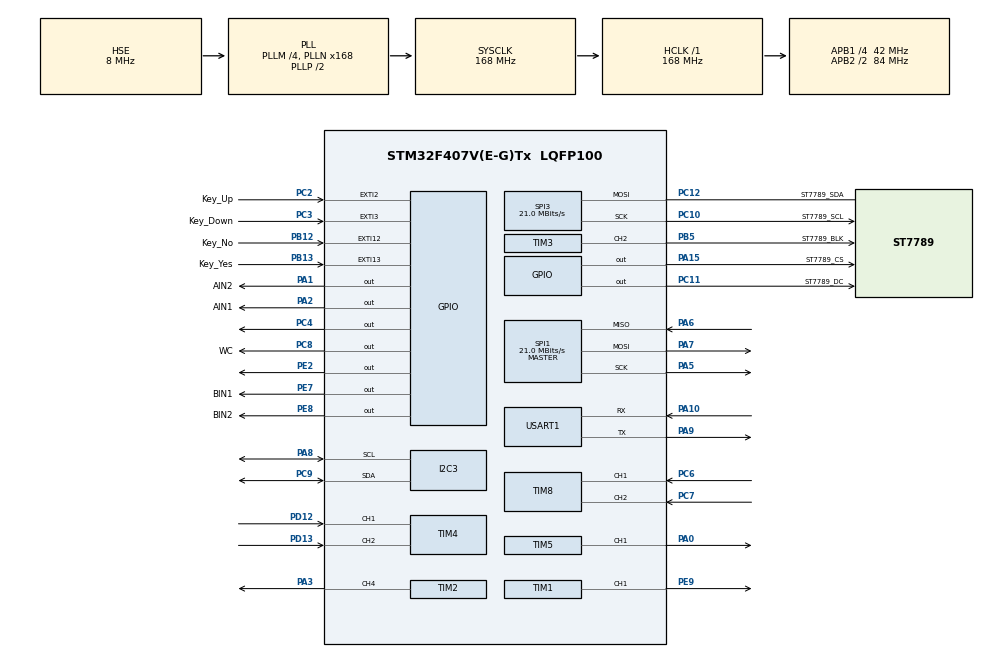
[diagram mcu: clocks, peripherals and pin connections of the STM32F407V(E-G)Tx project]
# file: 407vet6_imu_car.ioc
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Dma.Request0=TIM2_CH2/CH4
Dma.Request1=USART1_TX
Dma.TIM2_CH2/CH4.0.Direction=DMA_MEMORY_TO_PERIPH
Dma.TIM2_CH2/CH4.0.FIFOMode=DMA_FIFOMODE_DISABLE
Dma.TIM2_CH2/CH4.0.Instance=DMA1_Stream6
Dma.TIM2_CH2/CH4.0.MemDataAlignment=DMA_MDATAALIGN_WORD
Dma.TIM2_CH2/CH4.0.MemInc=DMA_MINC_ENABLE
Dma.TIM2_CH2/CH4.0.Mode=DMA_CIRCULAR
Dma.TIM2_CH2/CH4.0.PeriphDataAlignment=DMA_PDATAALIGN_WORD
Dma.TIM2_CH2/CH4.0.PeriphInc=DMA_PINC_DISABLE
Dma.TIM2_CH2/CH4.0.Priority=DMA_PRIORITY_LOW
Dma.USART1_TX.1.Direction=DMA_MEMORY_TO_PERIPH
Dma.USART1_TX.1.FIFOMode=DMA_FIFOMODE_DISABLE
Dma.USART1_TX.1.Instance=DMA2_Stream7
Dma.USART1_TX.1.MemDataAlignment=DMA_MDATAALIGN_BYTE
Dma.USART1_TX.1.MemInc=DMA_MINC_ENABLE
Dma.USART1_TX.1.Mode=DMA_CIRCULAR
Dma.USART1_TX.1.PeriphDataAlignment=DMA_PDATAALIGN_BYTE
Dma.USART1_TX.1.PeriphInc=DMA_PINC_DISABLE
Dma.USART1_TX.1.Priority=DMA_PRIORITY_LOW
Mcu.Family=STM32F4
Mcu.Name=STM32F407V(E-G)Tx
Mcu.Package=LQFP100
NVIC.DMA1_Stream6_IRQn=true\:1\:0\:true\:false\:true\:false\:true\:true
NVIC.DMA2_Stream7_IRQn=true\:0\:0\:false\:false\:true\:false\:true\:true
NVIC.EXTI15_10_IRQn=true\:1\:0\:true\:false\:true\:true\:true\:true
NVIC.EXTI2_IRQn=true\:1\:0\:true\:false\:true\:true\:true\:true
NVIC.EXTI3_IRQn=true\:1\:0\:true\:false\:true\:true\:true\:true
NVIC.PriorityGroup=NVIC_PRIORITYGROUP_4
NVIC.TIM1_BRK_TIM9_IRQn=true\:1\:0\:true\:false\:true\:true\:true\:true
NVIC.TIM1_TRG_COM_TIM11_IRQn=true\:0\:0\:true\:false\:true\:true\:true\:true
NVIC.TIM1_UP_TIM10_IRQn=true\:1\:0\:true\:false\:true\:true\:true\:true
NVIC.TIM2_IRQn=true\:1\:0\:true\:false\:true\:true\:true\:true
NVIC.TIM3_IRQn=true\:1\:0\:true\:false\:true\:true\:true\:true
PA0-WKUP.Signal=S_TIM5_CH1
PA1.GPIO_Label=AIN2
PA1.Signal=GPIO_Output
PA10.Mode=Asynchronous
PA10.Signal=USART1_RX
PA13.Mode=Serial_Wire
PA13.Signal=SYS_JTMS-SWDIO
PA14.Mode=Serial_Wire
PA14.Signal=SYS_JTCK-SWCLK
PA15.GPIO_Label=ST7789_CS
PA15.Signal=GPIO_Output
PA2.GPIO_Label=AIN1
PA2.Signal=GPIO_Output
PA3.Signal=S_TIM2_CH4
PA5.Mode=Full_Duplex_Master
PA5.Signal=SPI1_SCK
PA6.Mode=Full_Duplex_Master
PA6.Signal=SPI1_MISO
PA7.Mode=Full_Duplex_Master
PA7.Signal=SPI1_MOSI
PA8.GPIO_Pu=GPIO_PULLUP
PA8.Mode=I2C
PA8.Signal=I2C3_SCL
PA9.Mode=Asynchronous
PA9.Signal=USART1_TX
PB12.GPIO_Label=Key_No
PB12.GPIO_ModeDefaultEXTI=GPIO_MODE_IT_FALLING
PB12.GPIO_PuPd=GPIO_PULLUP
PB12.Signal=GPXTI12
PB13.GPIO_Label=Key_Yes
PB13.GPIO_ModeDefaultEXTI=GPIO_MODE_IT_FALLING
PB13.GPIO_PuPd=GPIO_PULLUP
PB13.Signal=GPXTI13
PB5.GPIO_Label=ST7789_BLK
PB5.Signal=S_TIM3_CH2
PC10.GPIO_Label=ST7789_SCL
PC10.Mode=Simplex_Bidirectional_Master
PC10.Signal=SPI3_SCK
PC11.GPIO_Label=ST7789_DC
PC11.Signal=GPIO_Output
PC12.GPIO_Label=ST7789_SDA
PC12.Mode=Simplex_Bidirectional_Master
PC12.Signal=SPI3_MOSI
PC2.GPIO_Label=Key_Up
PC2.GPIO_ModeDefaultEXTI=GPIO_MODE_IT_FALLING
PC2.GPIO_PuPd=GPIO_PULLUP
PC2.Signal=GPXTI2
PC3.GPIO_Label=Key_Down
PC3.GPIO_ModeDefaultEXTI=GPIO_MODE_IT_FALLING
PC3.GPIO_PuPd=GPIO_PULLUP
PC3.Signal=GPXTI3
PC4.Signal=GPIO_Output
PC6.Signal=S_TIM8_CH1
PC7.Signal=S_TIM8_CH2
PC8.GPIO_Label=WC
PC8.PinState=GPIO_PIN_RESET
PC8.Signal=GPIO_Output
PC9.GPIO_Pu=GPIO_PULLUP
PC9.Mode=I2C
PC9.Signal=I2C3_SDA
PD12.Signal=S_TIM4_CH1
PD13.Signal=S_TIM4_CH2
PE2.GPIO_ModeDefaultOutputPP=GPIO_MODE_OUTPUT_OD
PE2.GPIO_PuPd=GPIO_NOPULL
PE2.PinState=GPIO_PIN_SET
PE2.Signal=GPIO_Output
PE7.GPIO_Label=BIN1
PE7.Signal=GPIO_Output
PE8.GPIO_Label=BIN2
PE8.Signal=GPIO_Output
PE9.Signal=S_TIM1_CH1
PH0-OSC_IN.Mode=HSE-External-Oscillator
PH0-OSC_IN.Signal=RCC_OSC_IN
PH1-OSC_OUT.Mode=HSE-External-Oscillator
PH1-OSC_OUT.Signal=RCC_OSC_OUT
ProjectManager.HeapSize=0x200
ProjectManager.StackSize=0x400
ProjectManager.TargetToolchain=MDK-ARM V5.32
RCC.48MHZClocksFreq_Value=84000000
RCC.AHBFreq_Value=168000000
RCC.APB1CLKDivider=RCC_HCLK_DIV4
RCC.APB1Freq_Value=42000000
RCC.APB1TimFreq_Value=84000000
RCC.APB2CLKDivider=RCC_HCLK_DIV2
RCC.APB2Freq_Value=84000000
RCC.APB2TimFreq_Value=168000000
RCC.CortexFreq_Value=168000000
RCC.HCLKFreq_Value=168000000
RCC.HSE_VALUE=8000000
RCC.HSI_VALUE=16000000
RCC.LSE_VALUE=32768
RCC.PLLM=4
RCC.PLLN=168
RCC.PLLSourceVirtual=RCC_PLLSOURCE_HSE
RCC.SYSCLKFreq_VALUE=168000000
RCC.SYSCLKSource=RCC_SYSCLKSOURCE_PLLCLK
RCC.VCOOutputFreq_Value=336000000
SH.S_TIM1_CH1.0=TIM1_CH1,PWM Generation1 CH1
SH.S_TIM2_CH4.0=TIM2_CH4,PWM Generation4 CH4
SH.S_TIM3_CH2.0=TIM3_CH2,PWM Generation2 CH2
SH.S_TIM4_CH1.0=TIM4_CH1,Encoder_Interface
SH.S_TIM4_CH2.0=TIM4_CH2,Encoder_Interface
SH.S_TIM5_CH1.0=TIM5_CH1,PWM Generation1 CH1
SH.S_TIM8_CH1.0=TIM8_CH1,Encoder_Interface
SH.S_TIM8_CH2.0=TIM8_CH2,Encoder_Interface
SPI1.BaudRatePrescaler=SPI_BAUDRATEPRESCALER_4
SPI1.CLKPhase=SPI_PHASE_2EDGE
SPI1.CLKPolarity=SPI_POLARITY_HIGH
SPI1.CalculateBaudRate=21.0 MBits/s
SPI1.DataSize=SPI_DATASIZE_8BIT
SPI1.Direction=SPI_DIRECTION_2LINES
SPI1.Mode=SPI_MODE_MASTER
SPI1.VirtualType=VM_MASTER
SPI3.BaudRatePrescaler=SPI_BAUDRATEPRESCALER_2
SPI3.CLKPhase=SPI_PHASE_1EDGE
SPI3.CLKPolarity=SPI_POLARITY_LOW
SPI3.CalculateBaudRate=21.0 MBits/s
SPI3.Direction=SPI_DIRECTION_1LINE
SPI3.Mode=SPI_MODE_MASTER
SPI3.VirtualType=VM_MASTER
TIM1.Channel-PWM\ Generation1\ CH1=TIM_CHANNEL_1
TIM1.OCMode_PWM-PWM\ Generation1\ CH1=TIM_OCMODE_PWM2
TIM1.Period=999
TIM1.Prescaler=83
TIM10.AutoReloadPreload=TIM_AUTORELOAD_PRELOAD_ENABLE
TIM10.Period=999
TIM10.Prescaler=839
TIM11.Period=99
TIM11.Prescaler=8399
TIM2.AutoReloadPreload=TIM_AUTORELOAD_PRELOAD_ENABLE
TIM2.Channel-PWM\ Generation4\ CH4=TIM_CHANNEL_4
TIM2.OCFastMode_PWM-PWM\ Generation4\ CH4=TIM_OCFAST_ENABLE
TIM2.Period=104
TIM3.AutoReloadPreload=TIM_AUTORELOAD_PRELOAD_ENABLE
TIM3.Channel-PWM\ Generation2\ CH2=TIM_CHANNEL_2
TIM3.Period=99
TIM3.Prescaler=83
TIM4.CounterMode=TIM_COUNTERMODE_UP
TIM4.EncoderMode=TIM_ENCODERMODE_TI1
TIM4.IC2Polarity=TIM_ICPOLARITY_RISING
TIM5.Channel-PWM\ Generation1\ CH1=TIM_CHANNEL_1
TIM5.OCMode_PWM-PWM\ Generation1\ CH1=TIM_OCMODE_PWM2
TIM5.Period=999
TIM5.Prescaler=83
TIM9.AutoReloadPreload=TIM_AUTORELOAD_PRELOAD_ENABLE
TIM9.Period=199
TIM9.Prescaler=8399
USART1.VirtualMode=VM_ASYNC
VP_TIM10_VS_ClockSourceINT.Mode=Enable_Timer
VP_TIM11_VS_ClockSourceINT.Mode=Enable_Timer
VP_TIM1_VS_ClockSourceINT.Mode=Internal
VP_TIM2_VS_ClockSourceINT.Mode=Internal
VP_TIM3_VS_ClockSourceINT.Mode=Internal
VP_TIM5_VS_ClockSourceINT.Mode=Internal
VP_TIM9_VS_ClockSourceINT.Mode=Internal
board=custom

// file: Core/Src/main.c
/* USER CODE BEGIN Header */
/**
  ******************************************************************************
  * @file           : main.c
  * @brief          : Main program body
  ******************************************************************************
  * @attention
  *
  * Copyright (c) 2025 STMicroelectronics.
  * All rights reserved.
  *
  * This software is licensed under terms that can be found in the LICENSE file
  * in the root directory of this software component.
  * If no LICENSE file comes with this software, it is provided AS-IS.
  *
  ******************************************************************************
  */
/* USER CODE END Header */
#include "main.h"
#include "dma.h"
#include "i2c.h"
#include "spi.h"
#include "tim.h"
#include "usart.h"
#include "gpio.h"

/* USER CODE BEGIN Includes */
#include "ws2812.h"
#include "lcd.h "
#include "lcd_init.h "
#include "tb6612.h"
#include "ICM42688.h"
#include "M24_EEPROM.h"
#include "UI.h"
#include "stdio.h"
/* USER CODE END Includes */

/* USER CODE BEGIN PV */

//printf的重定向

//void HAL_UART_TxCpltCallback(UART_HandleTypeDef *huart)
//{
//    if(huart == &huart1)
//    {
//			if(dif_l>10)sprintf((char*)buffer,"0%ld\n",dif_l);
//			if(dif_l<10&&dif_l>0)sprintf((char*)buffer,"00%ld\n",dif_l);
//			HAL_UART_Transmit_DMA(&huart1,buffer,4);
//    }
//}
int fputc(int ch, FILE *f)
{
	while((USART1->SR&0X40)==0);//循环发送,直到发送完毕
    USART1->DR = (u8) ch;
	return ch;
}
/* USER CODE END PV */

void SystemClock_Config(void);

/* USER CODE BEGIN 0 */

/*****************************************************************************/
//以下是手动运行的函数体
void Run_manual(void)
{
	if (Run_flag == 1)
	{
		uint8_t Speed1[4] = {0};
		uint8_t Speed2[4] = {0};
		uint8_t Status1[4] = {0};
		uint8_t Status2[4] = {0};
		EEPROM_ReadMultipleBytes(MOTOR1_SPEED, Speed1, 4);
		EEPROM_ReadMultipleBytes(MOTOR2_SPEED, Speed2, 4);
		EEPROM_ReadMultipleBytes(MOTOR1_STATUS, Status1, 4);
		EEPROM_ReadMultipleBytes(MOTOR2_STATUS, Status2, 4);

		while (Run_flag)
		{
			if (Status1[3] == 1 && Status2[3] == 0)
			{
				Motor_Start(L);
				Motor_RealSpeed(Speed1[3], L);
			}
			else if (Status1[3] == 1 && Status2[3] == 1)
			{
				Motor_Start(Both);
				Motor_RealSpeed(Speed1[3], L);
				Motor_RealSpeed(Speed2[3], R);
			}
			else if (Status1[3] == 0 && Status2[3] == 1)
			{
				Motor_Start(R);
				Motor_RealSpeed(Speed2[3], R);
			}
			else
			{
				HAL_Delay(1500);
				Failed();
				Run_flag = 0;
				return;
			}
		}
	}
}

/*****************************************************************************/
//以下是第一问的执行函数体
void Run_Auto_1(void)
{
	if (Run_flag == 2)
	{
		float i=0;
		float now_angle=Angle_Data.yaw;
		int turn=0;
		Motor_Start(Both);
		while(1)
		{
			Motor_Distance(now_angle,58.5,9760);
			if(PID_D.Ek<10)
			{
				PID_D.Ek=0;
				PID_D.Ek1=0;
				PID_D.LocSum=0;
				accu_l=0;
				accu_r=0;
				now_angle=Angle_Data.yaw;
				turn++;
				i+=0.6f;
				if(i>1)i=1;
			}
			if(turn==6)break;
		}

//  这一段多了
//					while(1)
//			{
//				Motor_Distance(7050,10500);
//				if(PID_D.Ek<10)
//				{
//					accu_l=0;
//					accu_r=0;
//					PID_D.Ek=0;
//					PID_D.Ek1=0;
//					PID_D.LocSum=0;
//					break;
//				}
//			}

			Motor_Off(Both);  //关电机
			//声光提示
			WS2812_Set_Color(255, 255, 255);  ///光
			HAL_GPIO_WritePin(GPIOE, GPIO_PIN_2, GPIO_PIN_RESET);  //声
			HAL_Delay(200);
			HAL_GPIO_WritePin(GPIOE, GPIO_PIN_2, GPIO_PIN_SET);
			HAL_Delay(400);
			Run_flag = 0;  //flag复位
			WS2812_Set_Color(0,0,0);  ///光
			Success();

		}
}
/*****************************************************************************/
//以下是第二问的执行函数体
void Run_Auto_2(void)
{
	if (Run_flag == 3)
	{
		float i=0;
		float now_angle=Angle_Data.yaw;
		int turn=0;
		Motor_Start(Both);
			while(1)
		{
			Motor_Distance(now_angle,58.0,9700);
			if(PID_D.Ek<10)
			{
				PID_D.Ek=0;
				PID_D.Ek1=0;
				PID_D.LocSum=0;
				accu_l=0;
				accu_r=0;
				now_angle=Angle_Data.yaw;
				i+=0.5f;
				turn++;
			}
			if(turn==2)
			{
				i=0;
				turn=0;
				break;
			}
		}
			while(1)
		{
			Motor_Distance(now_angle,118.2,9775);
			if(PID_D.Ek<10)
			{
				PID_D.Ek=0;
				PID_D.Ek1=0;
				PID_D.LocSum=0;
				accu_l=0;
				accu_r=0;
				now_angle=Angle_Data.yaw;
				break;
			}
		}
		Motor_Off(Both);
		WS2812_Set_Color(255, 255, 255);  ///光
		HAL_GPIO_WritePin(GPIOE, GPIO_PIN_2, GPIO_PIN_RESET);  //声
		HAL_Delay(200);
		HAL_GPIO_WritePin(GPIOE, GPIO_PIN_2, GPIO_PIN_SET);

		HAL_Delay(400);
		Motor_Start(Both);
		accu_l=0;
		accu_r=0;
		now_angle=Angle_Data.yaw;
		WS2812_Set_Color(0, 0, 0);  //光
		while(1)
		{
			Motor_Distance(now_angle,0,9825);
			if(PID_D.Ek<10)
			{
				PID_D.Ek=0;
				PID_D.Ek1=0;
				PID_D.LocSum=0;
				accu_l=0;
				accu_r=0;
				now_angle=Angle_Data.yaw;
				break;
			}
		}
		while(1)
		{
			Motor_Distance(now_angle,-117.5,9700);
			if(PID_D.Ek<10)
			{
				PID_D.Ek=0;
				PID_D.Ek1=0;
				PID_D.LocSum=0;
				accu_l=0;
				accu_r=0;
				now_angle=Angle_Data.yaw;
				i+=0.5f;
				break;
			}
		}
		while(1)
		{
			Motor_Distance(now_angle,-59.0,9700);
			if(PID_D.Ek<10)
			{
				PID_D.Ek=0;
				PID_D.Ek1=0;
				PID_D.LocSum=0;
				accu_l=0;
				accu_r=0;
				now_angle=Angle_Data.yaw;
				i+=0.5f;
				if(i>1.4f)i=1.4f;
				break;
			}
		}
		while(1)
		{
			Motor_Distance(now_angle,-113.5,9757);
			if(PID_D.Ek<10)
			{
				PID_D.Ek=0;
				PID_D.Ek1=0;
				PID_D.LocSum=0;
				accu_l=0;
				accu_r=0;
				now_angle=Angle_Data.yaw;
				i+=0.5f;
				if(i>1.4f)i=1.4f;
				break;
			}
		}
		Motor_Off(Both);
		WS2812_Set_Color(255, 255, 255);  ///光
		HAL_GPIO_WritePin(GPIOE, GPIO_PIN_2, GPIO_PIN_RESET);  //声
		HAL_Delay(200);
		HAL_GPIO_WritePin(GPIOE, GPIO_PIN_2, GPIO_PIN_SET);
		HAL_Delay(400);

		Motor_Start(Both);
		accu_l=0;
		accu_r=0;
		now_angle=Angle_Data.yaw;
		WS2812_Set_Color(0,0,0);  ///光
		while(1)
		{
			Motor_Distance(now_angle,0,9708);
			if(PID_D.Ek<10)
			{
				PID_D.Ek=0;
				PID_D.Ek1=0;
				PID_D.LocSum=0;
				accu_l=0;
				accu_r=0;
				now_angle=Angle_Data.yaw;
				i+=0.5f;
				if(i>1.4f)i=1.4f;
				break;
			}
		}

		Motor_Off(Both);  //关电机
		Run_flag = 0;  //flag复位
		Success();
	}
}
/*****************************************************************************/
//以下是第三问的执行函数体
void Run_Auto_3(void)
{
	if (Run_flag == 4)
	{
		float i=0;
		float now_angle=Angle_Data.yaw;
		int turn=0;
		float First_angle = 0.0;

		//先读一下是哪个点 ## 0-5分别对应ABCDEF
		uint8_t Target[4] = {0};
		EEPROM_ReadMultipleBytes(TARGET_POINT, Target, 4);
		if (Target[3] == 0)  //A点
		{
			First_angle = 0;
		}
		if (Target[3] == 1)  //B点
		{
			First_angle = 60;
		}
		if (Target[3] == 2)  //C点
		{
			First_angle = 117.5;
		}
		if (Target[3] == 3)  //D点
		{
			First_angle = 178;
		}
		if (Target[3] == 4)  //E点
		{
			First_angle = -117.5;
		}
		if (Target[3] == 5)  //F点
		{
			First_angle = -60                                               ;
		}

		Motor_Start(Both);  //启动电机

		while (1)  //先转到那个点
		{
			Motor_Distance(now_angle,First_angle,9760);
			if(PID_D.Ek<10)
			{
				PID_D.Ek=0;
				PID_D.Ek1=0;
				PID_D.LocSum=0;
				accu_l=0;
				accu_r=0;
				now_angle=Angle_Data.yaw;
				break;
			}
		}

		while(1)  //再走接下来的两个角
		{
			Motor_Distance(now_angle,117.5,9760);
			if(PID_D.Ek<10)
			{
				PID_D.Ek=0;
				PID_D.Ek1=0;
				PID_D.LocSum=0;
				accu_l=0;
				accu_r=0;
				now_angle=Angle_Data.yaw;
				turn++;
				i+=0.6f;
				if(i>1)i=1;
			}
			if(turn==2)break;
		}

			Motor_Off(Both);  //关电机
			//声光提示
			WS2812_Set_Color(255, 255, 255);  ///光
			HAL_GPIO_WritePin(GPIOE, GPIO_PIN_2, GPIO_PIN_RESET);  //声
			HAL_Delay(200);
			HAL_GPIO_WritePin(GPIOE, GPIO_PIN_2, GPIO_PIN_SET);
			HAL_Delay(400);
			Run_flag = 0;  //flag复位
			WS2812_Set_Color(0,0,0);  ///光
			Success();
		}
}

/*****************************************************************************/
//以下是用于刷新ui的刷新函数
void Renew_UI(void)
{
	if (display_flag == 1)
	{
		Display();  //刷新屏幕
		display_flag = 0;  //标志重置
	}
}

/* USER CODE END 0 */

int main(void)
{

  /* MCU Configuration--------------------------------------------------------*/

  /* Reset of all peripherals, Initializes the Flash interface and the Systick. */
  HAL_Init();

  /* Configure the system clock */
  SystemClock_Config();

  /* Initialize all configured peripherals */
  MX_GPIO_Init();
  MX_DMA_Init();
  MX_I2C3_Init();
  MX_SPI1_Init();
  MX_SPI3_Init();
  MX_TIM2_Init();
  MX_USART1_UART_Init();
  MX_TIM1_Init();
  MX_TIM4_Init();
  MX_TIM5_Init();
  MX_TIM8_Init();
  MX_TIM3_Init();
  MX_TIM9_Init();
  MX_TIM11_Init();
  MX_TIM10_Init();
  /* USER CODE BEGIN 2 */

	/* 外设初始化 */
	LCD_Init();  //LCD_Init

	LCD_Fill(0,0,LCD_W,LCD_H,BLACK);  //提示
	LCD_ShowString(0, 0, (uint8_t*)"IMU init, don't move", WHITE, BLACK, 24, 1);
	LCD_ShowString(0, 30, (uint8_t*)"the car", WHITE, BLACK, 24, 1);

	icm42688_init ();  //IMU 初始化

	IMU_Calibration();  //IMU零漂校准，上电时不要移动小车，不然会一直卡在这里

	WS2812_Init();  //WS2812 Init

	HAL_TIM_Encoder_Start(&htim4, TIM_CHANNEL_ALL);  //编码器初始化
	HAL_TIM_Encoder_Start(&htim8, TIM_CHANNEL_ALL);

	if (M24C02_Check()) Error_Handler();  //EEPROM初始化

	LCD_Fill(0,0,LCD_W,LCD_H,0xFFFE);  //填充主菜单背景，这里的0xfffe是特殊标志
	LCD_Fill(0, 0, 240, 50, GRAYBLUE);  //第一次打印标题框

	HAL_TIM_Base_Start_IT(&htim11);  //开启编码器计速定时器
	HAL_TIM_Base_Start_IT(&htim2);  //开启2812定时器
	Motor_Start(Both);

	HAL_TIM_Base_Start_IT(&htim11);  //开启编码器计速定时器
	HAL_TIM_Base_Start_IT(&htim2);  //开启2812定时器

 //	DispCrtMenu();  //第一次打印ui

  /* USER CODE END 2 */

  /* Infinite loop */
  /* USER CODE BEGIN WHILE */

//	accu_l=0;
//	accu_r=0;
//	float i=0;
//	float now_angle=Angle_Data.yaw;
//	int turn=0;
 	Motor_Start(Both);

	while (1)
	{

		//手动运行函数
		Run_manual();

		//自动运行函数
		Run_Auto_1();

		//自动运行函数二
		Run_Auto_2();

		//自动运行函数三
		Run_Auto_3();

		//直立环
		//Motor_Keep_Stand(0);

		//UI刷新函数
		Renew_UI();

		/* USER CODE END WHILE */

  }
}

void SystemClock_Config(void)
{
  RCC_OscInitTypeDef RCC_OscInitStruct = {0};
  RCC_ClkInitTypeDef RCC_ClkInitStruct = {0};

  /** Configure the main internal regulator output voltage
  */
  __HAL_RCC_PWR_CLK_ENABLE();
  __HAL_PWR_VOLTAGESCALING_CONFIG(PWR_REGULATOR_VOLTAGE_SCALE1);

  /** Initializes the RCC Oscillators according to the specified parameters
  * in the RCC_OscInitTypeDef structure.
  */
  RCC_OscInitStruct.OscillatorType = RCC_OSCILLATORTYPE_HSE;
  RCC_OscInitStruct.HSEState = RCC_HSE_ON;
  RCC_OscInitStruct.PLL.PLLState = RCC_PLL_ON;
  RCC_OscInitStruct.PLL.PLLSource = RCC_PLLSOURCE_HSE;
  RCC_OscInitStruct.PLL.PLLM = 4;
  RCC_OscInitStruct.PLL.PLLN = 168;
  RCC_OscInitStruct.PLL.PLLP = RCC_PLLP_DIV2;
  RCC_OscInitStruct.PLL.PLLQ = 4;
  if (HAL_RCC_OscConfig(&RCC_OscInitStruct) != HAL_OK)
  {
    Error_Handler();
  }

  /** Initializes the CPU, AHB and APB buses clocks
  */
  RCC_ClkInitStruct.ClockType = RCC_CLOCKTYPE_HCLK|RCC_CLOCKTYPE_SYSCLK
                              |RCC_CLOCKTYPE_PCLK1|RCC_CLOCKTYPE_PCLK2;
  RCC_ClkInitStruct.SYSCLKSource = RCC_SYSCLKSOURCE_PLLCLK;
  RCC_ClkInitStruct.AHBCLKDivider = RCC_SYSCLK_DIV1;
  RCC_ClkInitStruct.APB1CLKDivider = RCC_HCLK_DIV4;
  RCC_ClkInitStruct.APB2CLKDivider = RCC_HCLK_DIV2;

  if (HAL_RCC_ClockConfig(&RCC_ClkInitStruct, FLASH_LATENCY_5) != HAL_OK)
  {
    Error_Handler();
  }
}

void Error_Handler(void)
{
  /* USER CODE BEGIN Error_Handler_Debug */
  /* User can add his own implementation to report the HAL error return state */
  __disable_irq();

	LCD_Init();  //报错提示
	LCD_Fill(0,0,LCD_W,LCD_H,RED);
	LCD_ShowString(0,0,(uint8_t*)"ERROR_HANDLER",WHITE, RED, 32,0);

	while (1)
  {
		;
	}
  /* USER CODE END Error_Handler_Debug */
}
